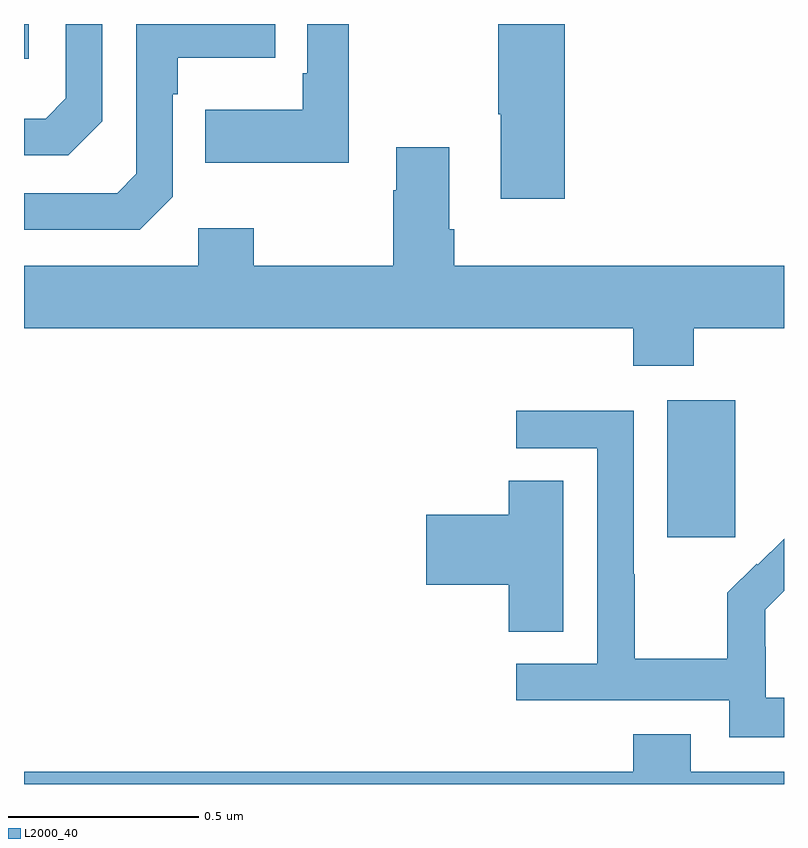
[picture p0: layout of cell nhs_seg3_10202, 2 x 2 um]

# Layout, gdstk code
import gdstk
lib = gdstk.Library(unit=1e-6, precision=1e-09)
def R(c, l, rs):  # rectangles x0, y0, x1, y1
    for r in rs: c.add(gdstk.rectangle(r[:2], r[2:], *l))
def P(c, l, *ps):  # polygons
    for p in ps: c.add(gdstk.Polygon(p, *l))
L2000_40 = (2000, 40)

nhs_seg3_10202 = lib.new_cell('nhs_seg3_10202')
R(nhs_seg3_10202, L2000_40, [(239.693,683.049,239.872,683.41), (238,684.308,238.012,684.4)])
P(nhs_seg3_10202, L2000_40, [(238.855,684.4),(238.746,684.4),(238.746,684.271),(238.734,684.271),(238.734,684.175),(238.477,684.175),(238.477,684.035),(238.855,684.035)],
  [(239.423,684.4),(239.248,684.4),(239.248,684.163),(239.255,684.163),(239.255,683.94),(239.423,683.94)],
  [(238.206,684.144),(238.206,684.4),(238.11,684.4),(238.11,684.204),(238.057,684.151),(238,684.151),(238,684.054),(238.116,684.054)],
  [(238.392,683.946),(238.392,684.215),(238.405,684.215),(238.405,684.311),(238.661,684.311),(238.661,684.4),(238.296,684.4),(238.296,684.006),(238.245,683.955),(238,683.955),(238,683.859),(238.305,683.859)],
  [(239.763,683.6),(240,683.6),(240,683.764),(239.132,683.764),(239.132,683.86),(239.119,683.86),(239.119,684.076),(238.979,684.076),(238.979,683.963),(238.972,683.963),(238.972,683.764),(238.605,683.764),(238.605,683.863),(238.458,683.863),(238.458,683.764),(238,683.764),(238,683.6),(239.603,683.6),(239.603,683.501),(239.763,683.501)],
  [(240,682.627),(239.952,682.627),(239.952,682.761),(239.95,682.761),(239.95,682.858),(240,682.908),(240,683.046),(239.931,682.977),(239.928,682.98),(239.851,682.903),(239.851,682.729),(239.607,682.729),(239.607,682.952),(239.604,682.952),(239.604,683.382),(239.295,683.382),(239.295,683.283),(239.508,683.283),(239.508,682.716),(239.295,682.716),(239.295,682.62),(239.856,682.62),(239.856,682.523),(240,682.523)],
  [(239.419,683.198),(239.276,683.198),(239.276,683.108),(239.058,683.108),(239.058,682.925),(239.276,682.925),(239.276,682.801),(239.419,682.801)],
  [(240,682.432),(239.755,682.432),(239.755,682.531),(239.603,682.531),(239.603,682.432),(238,682.432),(238,682.4),(240,682.4)])

lib.write_gds('nhs_seg3_10202.gds')
